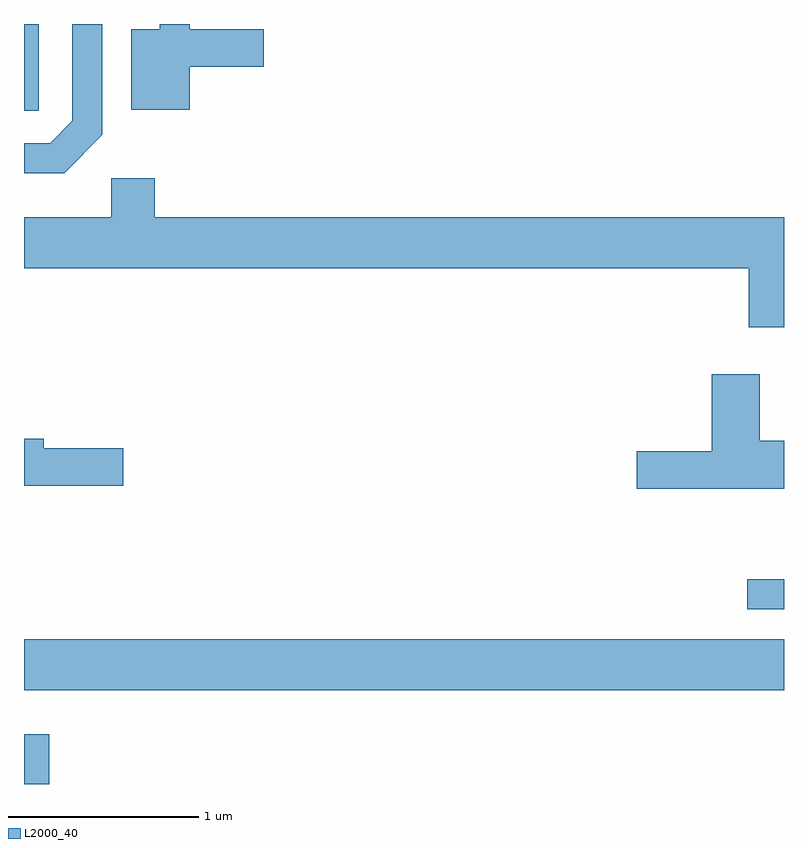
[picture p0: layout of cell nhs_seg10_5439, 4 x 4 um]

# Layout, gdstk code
import gdstk
lib = gdstk.Library(unit=1e-6, precision=1e-09)
def R(c, l, rs):  # rectangles x0, y0, x1, y1
    for r in rs: c.add(gdstk.rectangle(r[:2], r[2:], *l))
def P(c, l, *ps):  # polygons
    for p in ps: c.add(gdstk.Polygon(p, *l))
L2000_40 = (2000, 40)

nhs_seg10_5439 = lib.new_cell('nhs_seg10_5439')
R(nhs_seg10_5439, L2000_40, [(345.611,2124.522,345.744,2124.784), (345.611,2125.016,349.611,2125.284), (349.418,2125.441,349.611,2125.599), (345.611,2128.066,345.689,2128.522)])
P(nhs_seg10_5439, L2000_40, [(346.024,2127.939),(346.024,2128.522),(345.866,2128.522),(345.866,2128.012),(345.749,2127.894),(345.611,2127.894),(345.611,2127.736),(345.822,2127.736)],
  [(346.484,2128.296),(346.874,2128.296),(346.874,2128.494),(346.484,2128.494),(346.484,2128.522),(346.326,2128.522),(346.326,2128.494),(346.176,2128.494),(346.176,2128.071),(346.484,2128.071)],
  [(349.611,2127.504),(346.299,2127.504),(346.299,2127.709),(346.071,2127.709),(346.071,2127.504),(345.611,2127.504),(345.611,2127.236),(349.426,2127.236),(349.426,2126.926),(349.611,2126.926)],
  [(349.611,2126.329),(349.484,2126.329),(349.484,2126.679),(349.231,2126.679),(349.231,2126.274),(348.836,2126.274),(348.836,2126.076),(349.611,2126.076)],
  [(346.134,2126.289),(345.714,2126.289),(345.714,2126.339),(345.611,2126.339),(345.611,2126.091),(346.134,2126.091)])

lib.write_gds('nhs_seg10_5439.gds')
